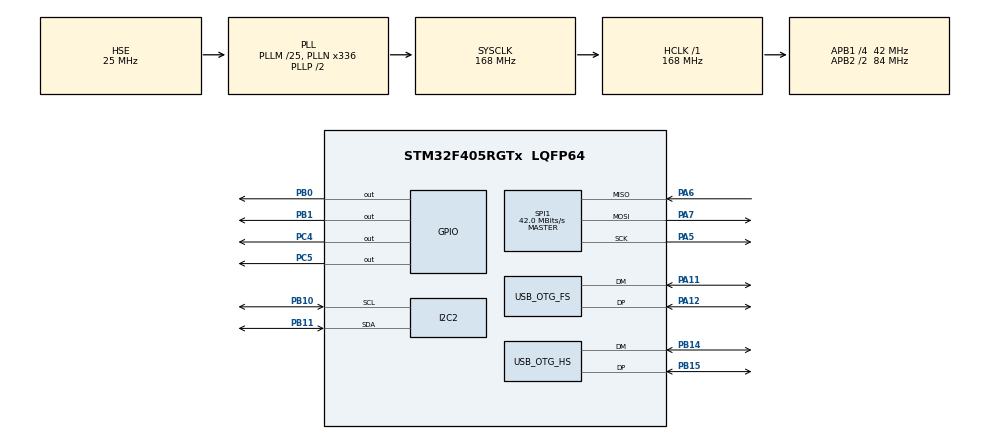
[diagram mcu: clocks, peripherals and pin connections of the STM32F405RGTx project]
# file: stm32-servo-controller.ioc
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Mcu.Family=STM32F4
Mcu.Name=STM32F405RGTx
Mcu.Package=LQFP64
NVIC.OTG_FS_IRQn=true\:0\:0\:false\:false\:true\:false\:true\:true
NVIC.PriorityGroup=NVIC_PRIORITYGROUP_4
PA11.Mode=Device_Only
PA11.Signal=USB_OTG_FS_DM
PA12.Mode=Device_Only
PA12.Signal=USB_OTG_FS_DP
PA13.Mode=Serial_Wire
PA13.Signal=SYS_JTMS-SWDIO
PA14.Mode=Serial_Wire
PA14.Signal=SYS_JTCK-SWCLK
PA5.Mode=Full_Duplex_Master
PA5.Signal=SPI1_SCK
PA6.Mode=Full_Duplex_Master
PA6.Signal=SPI1_MISO
PA7.Mode=Full_Duplex_Master
PA7.Signal=SPI1_MOSI
PB0.Signal=GPIO_Output
PB1.Signal=GPIO_Output
PB10.Mode=I2C
PB10.Signal=I2C2_SCL
PB11.Mode=I2C
PB11.Signal=I2C2_SDA
PB14.Mode=Device_Only_FS
PB14.Signal=USB_OTG_HS_DM
PB15.Mode=Device_Only_FS
PB15.Signal=USB_OTG_HS_DP
PC4.Signal=GPIO_Output
PC5.Signal=GPIO_Output
PH0-OSC_IN.Mode=HSE-External-Oscillator
PH0-OSC_IN.Signal=RCC_OSC_IN
PH1-OSC_OUT.Mode=HSE-External-Oscillator
PH1-OSC_OUT.Signal=RCC_OSC_OUT
ProjectManager.HeapSize=0x200
ProjectManager.StackSize=0x400
ProjectManager.TargetToolchain=CMake
RCC.48MHZClocksFreq_Value=48000000
RCC.AHBFreq_Value=168000000
RCC.APB1CLKDivider=RCC_HCLK_DIV4
RCC.APB1Freq_Value=42000000
RCC.APB1TimFreq_Value=84000000
RCC.APB2CLKDivider=RCC_HCLK_DIV2
RCC.APB2Freq_Value=84000000
RCC.APB2TimFreq_Value=168000000
RCC.CortexFreq_Value=168000000
RCC.HCLKFreq_Value=168000000
RCC.HSE_VALUE=25000000
RCC.HSI_VALUE=16000000
RCC.LSE_VALUE=32768
RCC.PLLM=25
RCC.PLLN=336
RCC.PLLQ=7
RCC.SYSCLKFreq_VALUE=168000000
RCC.SYSCLKSource=RCC_SYSCLKSOURCE_PLLCLK
RCC.VCOOutputFreq_Value=336000000
SPI1.CalculateBaudRate=42.0 MBits/s
SPI1.Direction=SPI_DIRECTION_2LINES
SPI1.Mode=SPI_MODE_MASTER
SPI1.VirtualType=VM_MASTER
USB_DEVICE.CLASS_NAME_FS=CDC
USB_DEVICE.PRODUCT_STRING_CDC_FS=Gagi Fudi Device
USB_DEVICE.VirtualMode-CDC_FS=Cdc
USB_DEVICE.VirtualModeFS=Cdc_FS
USB_OTG_FS.VirtualMode=Device_Only
USB_OTG_HS.VirtualMode-Device_Only_FS=Device_Only_FS
VP_USB_DEVICE_VS_USB_DEVICE_CDC_FS.Mode=CDC_FS
board=custom

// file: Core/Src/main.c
/* USER CODE BEGIN Header */
/**
 ******************************************************************************
 * @file           : main.c
 * @brief          : Main program body
 ******************************************************************************
 * @attention
 *
 * Copyright (c) 2025 STMicroelectronics.
 * All rights reserved.
 *
 * This software is licensed under terms that can be found in the LICENSE file
 * in the root directory of this software component.
 * If no LICENSE file comes with this software, it is provided AS-IS.
 *
 ******************************************************************************
 */
/* USER CODE END Header */
#include "main.h"

#include "usb_device.h"

/* USER CODE BEGIN Includes */
#include <string.h>

#include "hand_communication.h"
#include "message_protocol.h"
#include "pca9685.h"
#include "stm32f4xx_hal.h"
#include "usbd_cdc_if.h"
#include "usbd_def.h"

/* USER CODE END Includes */

I2C_HandleTypeDef hi2c2;

SPI_HandleTypeDef hspi1;

PCD_HandleTypeDef hpcd_USB_OTG_HS;

void SystemClock_Config(void);
static void MX_GPIO_Init(void);
static void MX_SPI1_Init(void);
static void MX_I2C2_Init(void);
static void MX_USB_OTG_HS_PCD_Init(void);

int main(void) {

    /* MCU Configuration--------------------------------------------------------*/

    /* Reset of all peripherals, Initializes the Flash interface and the Systick.
     */
    HAL_Init();

    /* Configure the system clock */
    SystemClock_Config();

    /* Initialize all configured peripherals */
    MX_GPIO_Init();
    MX_SPI1_Init();
    MX_I2C2_Init();
    MX_USB_OTG_HS_PCD_Init();
    MX_USB_DEVICE_Init();
    /* USER CODE BEGIN 2 */

    if (PCA9685_Init(&hi2c2) != HAL_OK) {
        Error_Handler();
    }

    host_to_hand_command_t command;

    hand_to_host_commant_t hand_to_host;
    for (int i = 0; i < 32; i++) {
        hand_to_host.sensors[i] = i;
    }

    /* USER CODE END 2 */

    /* Infinite loop */
    while (1) {

        /* USER CODE BEGIN 3 */

        message_protocol_status_t status;
        while ((status = extract_message(&command, sizeof(host_to_hand_command_t))) ==
               MESSAGE_PROTOCOL_NO_PACKET) {
            // wait for message
            // maybe do other things here
        }

        if (status != MESSAGE_PROTOCOL_OK) {
            Error_Handler();
        }

        // new message, update pwm
        for (int i = 0; i < 16; i++) {
            // clamp
            if (command.actuators[i] < 200) {
                command.actuators[i] = 200;
            } else if (command.actuators[i] > 410) {
                command.actuators[i] = 410;
            }
        }
        if (PCA9685_SetAllPWM(&hi2c2, command.actuators) != HAL_OK) {
            Error_Handler();
        }

        // our turn to send sensor data to computer
        const uint32_t message_buffer_size = MESSAGE_BUFFER_SIZE(sizeof(hand_to_host));
        uint8_t message_buffer[message_buffer_size];
        encapsulate_message(message_buffer, message_buffer_size, &hand_to_host,
                            sizeof(hand_to_host));
        uint8_t usb_status;
        while ((usb_status = CDC_Transmit_FS(message_buffer, message_buffer_size)) == USBD_BUSY);
        if (usb_status != USBD_OK) {
            Error_Handler();
        }
    }
    /* USER CODE END 3 */
}

void SystemClock_Config(void) {
    RCC_OscInitTypeDef RCC_OscInitStruct = {0};
    RCC_ClkInitTypeDef RCC_ClkInitStruct = {0};

    /** Configure the main internal regulator output voltage
     */
    __HAL_RCC_PWR_CLK_ENABLE();
    __HAL_PWR_VOLTAGESCALING_CONFIG(PWR_REGULATOR_VOLTAGE_SCALE1);

    /** Initializes the RCC Oscillators according to the specified parameters
     * in the RCC_OscInitTypeDef structure.
     */
    RCC_OscInitStruct.OscillatorType = RCC_OSCILLATORTYPE_HSE;
    RCC_OscInitStruct.HSEState = RCC_HSE_ON;
    RCC_OscInitStruct.PLL.PLLState = RCC_PLL_ON;
    RCC_OscInitStruct.PLL.PLLSource = RCC_PLLSOURCE_HSE;
    RCC_OscInitStruct.PLL.PLLM = 25;
    RCC_OscInitStruct.PLL.PLLN = 336;
    RCC_OscInitStruct.PLL.PLLP = RCC_PLLP_DIV2;
    RCC_OscInitStruct.PLL.PLLQ = 7;
    if (HAL_RCC_OscConfig(&RCC_OscInitStruct) != HAL_OK) {
        Error_Handler();
    }

    /** Initializes the CPU, AHB and APB buses clocks
     */
    RCC_ClkInitStruct.ClockType =
        RCC_CLOCKTYPE_HCLK | RCC_CLOCKTYPE_SYSCLK | RCC_CLOCKTYPE_PCLK1 | RCC_CLOCKTYPE_PCLK2;
    RCC_ClkInitStruct.SYSCLKSource = RCC_SYSCLKSOURCE_PLLCLK;
    RCC_ClkInitStruct.AHBCLKDivider = RCC_SYSCLK_DIV1;
    RCC_ClkInitStruct.APB1CLKDivider = RCC_HCLK_DIV4;
    RCC_ClkInitStruct.APB2CLKDivider = RCC_HCLK_DIV2;

    if (HAL_RCC_ClockConfig(&RCC_ClkInitStruct, FLASH_LATENCY_5) != HAL_OK) {
        Error_Handler();
    }
}

static void MX_I2C2_Init(void) {

    hi2c2.Instance = I2C2;
    hi2c2.Init.ClockSpeed = 100000;
    hi2c2.Init.DutyCycle = I2C_DUTYCYCLE_2;
    hi2c2.Init.OwnAddress1 = 0;
    hi2c2.Init.AddressingMode = I2C_ADDRESSINGMODE_7BIT;
    hi2c2.Init.DualAddressMode = I2C_DUALADDRESS_DISABLE;
    hi2c2.Init.OwnAddress2 = 0;
    hi2c2.Init.GeneralCallMode = I2C_GENERALCALL_DISABLE;
    hi2c2.Init.NoStretchMode = I2C_NOSTRETCH_DISABLE;
    if (HAL_I2C_Init(&hi2c2) != HAL_OK) {
        Error_Handler();
    }
}

static void MX_SPI1_Init(void) {

    /* SPI1 parameter configuration*/
    hspi1.Instance = SPI1;
    hspi1.Init.Mode = SPI_MODE_MASTER;
    hspi1.Init.Direction = SPI_DIRECTION_2LINES;
    hspi1.Init.DataSize = SPI_DATASIZE_8BIT;
    hspi1.Init.CLKPolarity = SPI_POLARITY_LOW;
    hspi1.Init.CLKPhase = SPI_PHASE_1EDGE;
    hspi1.Init.NSS = SPI_NSS_SOFT;
    hspi1.Init.BaudRatePrescaler = SPI_BAUDRATEPRESCALER_2;
    hspi1.Init.FirstBit = SPI_FIRSTBIT_MSB;
    hspi1.Init.TIMode = SPI_TIMODE_DISABLE;
    hspi1.Init.CRCCalculation = SPI_CRCCALCULATION_DISABLE;
    hspi1.Init.CRCPolynomial = 10;
    if (HAL_SPI_Init(&hspi1) != HAL_OK) {
        Error_Handler();
    }
}

static void MX_USB_OTG_HS_PCD_Init(void) {

    hpcd_USB_OTG_HS.Instance = USB_OTG_HS;
    hpcd_USB_OTG_HS.Init.dev_endpoints = 6;
    hpcd_USB_OTG_HS.Init.speed = PCD_SPEED_FULL;
    hpcd_USB_OTG_HS.Init.dma_enable = DISABLE;
    hpcd_USB_OTG_HS.Init.phy_itface = USB_OTG_EMBEDDED_PHY;
    hpcd_USB_OTG_HS.Init.Sof_enable = DISABLE;
    hpcd_USB_OTG_HS.Init.low_power_enable = DISABLE;
    hpcd_USB_OTG_HS.Init.lpm_enable = DISABLE;
    hpcd_USB_OTG_HS.Init.vbus_sensing_enable = DISABLE;
    hpcd_USB_OTG_HS.Init.use_dedicated_ep1 = DISABLE;
    hpcd_USB_OTG_HS.Init.use_external_vbus = DISABLE;
    if (HAL_PCD_Init(&hpcd_USB_OTG_HS) != HAL_OK) {
        Error_Handler();
    }
}

static void MX_GPIO_Init(void) {
    GPIO_InitTypeDef GPIO_InitStruct = {0};

    /* GPIO Ports Clock Enable */
    __HAL_RCC_GPIOH_CLK_ENABLE();
    __HAL_RCC_GPIOA_CLK_ENABLE();
    __HAL_RCC_GPIOC_CLK_ENABLE();
    __HAL_RCC_GPIOB_CLK_ENABLE();

    /*Configure GPIO pin Output Level */
    HAL_GPIO_WritePin(GPIOC, GPIO_PIN_4 | GPIO_PIN_5, GPIO_PIN_RESET);

    /*Configure GPIO pin Output Level */
    HAL_GPIO_WritePin(GPIOB, GPIO_PIN_0 | GPIO_PIN_1, GPIO_PIN_RESET);

    /*Configure GPIO pins : PC4 PC5 */
    GPIO_InitStruct.Pin = GPIO_PIN_4 | GPIO_PIN_5;
    GPIO_InitStruct.Mode = GPIO_MODE_OUTPUT_PP;
    GPIO_InitStruct.Pull = GPIO_NOPULL;
    GPIO_InitStruct.Speed = GPIO_SPEED_FREQ_LOW;
    HAL_GPIO_Init(GPIOC, &GPIO_InitStruct);

    /*Configure GPIO pins : PB0 PB1 */
    GPIO_InitStruct.Pin = GPIO_PIN_0 | GPIO_PIN_1;
    GPIO_InitStruct.Mode = GPIO_MODE_OUTPUT_PP;
    GPIO_InitStruct.Pull = GPIO_NOPULL;
    GPIO_InitStruct.Speed = GPIO_SPEED_FREQ_LOW;
    HAL_GPIO_Init(GPIOB, &GPIO_InitStruct);

}

void Error_Handler(void) {
    __disable_irq();
    while (1) {
    }
}
#ifdef USE_FULL_ASSERT
/**
 * @brief  Reports the name of the source file and the source line number
 *         where the assert_param error has occurred.
 * @param  file: pointer to the source file name
 * @param  line: assert_param error line source number
 * @retval None
 */
void assert_failed(uint8_t* file, uint32_t line) {
    /* USER CODE BEGIN 6 */
    /* User can add his own implementation to report the file name and line
       number, ex: printf("Wrong parameters value: file %s on line %d\r\n", file,
       line) */
    /* USER CODE END 6 */
}
#endif /* USE_FULL_ASSERT */
